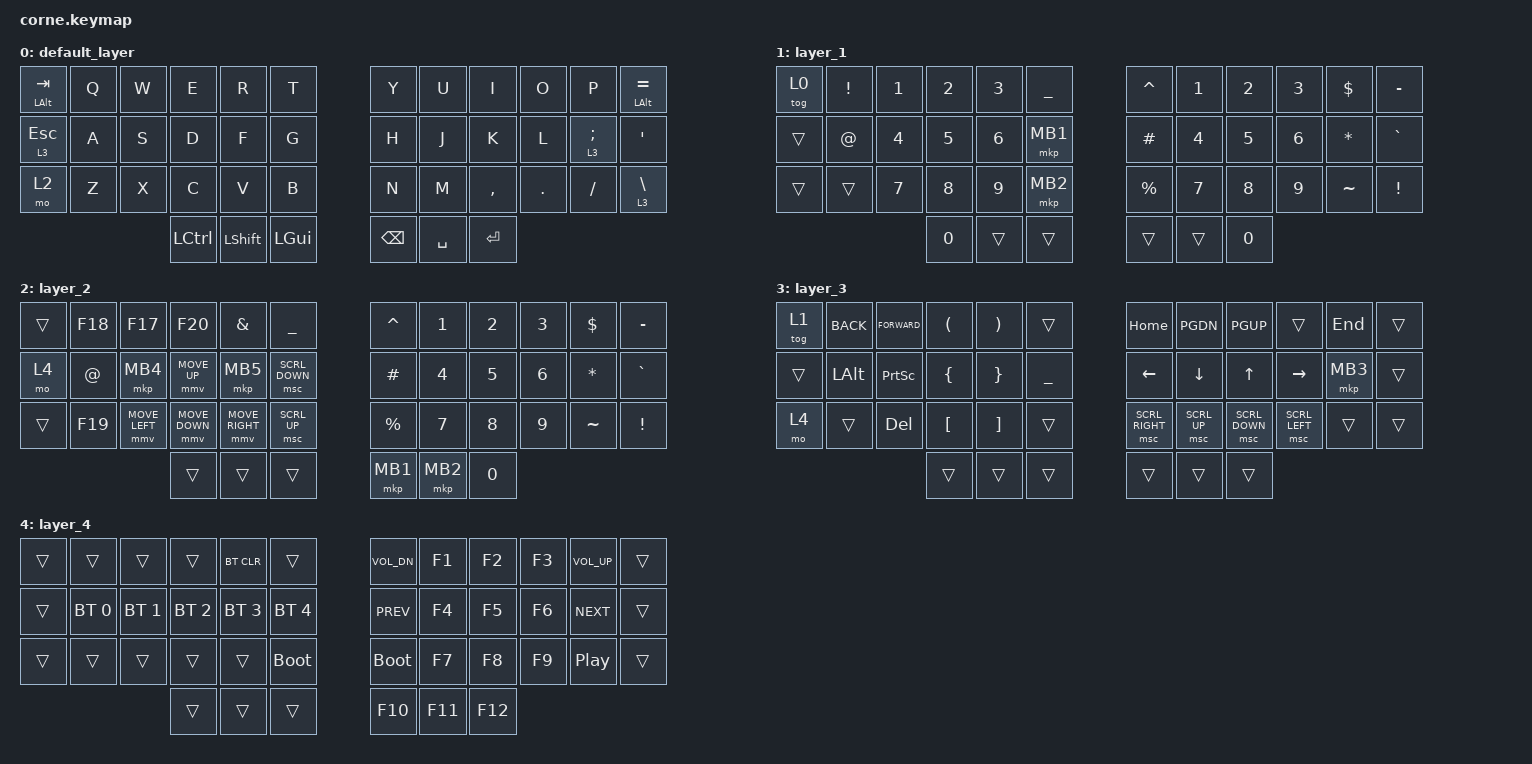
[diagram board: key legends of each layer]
/*
 * Copyright (c) 2020 The ZMK Contributors
 *
 * SPDX-License-Identifier: MIT
 */

#include <behaviors.dtsi>
#include <dt-bindings/zmk/keys.h>
#include <dt-bindings/zmk/mouse.h>
#include <dt-bindings/zmk/bt.h>

#define ZMK_POINTING_DEFAULT_MOVE_VAL 1800  // default: 600
#define ZMK_POINTING_DEFAULT_SCRL_VAL 40    // default: 10

#include <dt-bindings/zmk/pointing.h>


/ {

   behaviors {
        lt: layer_tap {
            compatible = "zmk,behavior-hold-tap";
            #binding-cells = <2>;
            flavor = "tap-preferred";
            tapping-term-ms = <150>;
            bindings = <&mo>, <&kp>;
            display-name = "Layer-Tap";
        };
    };
 


        keymap {
                compatible = "zmk,keymap";

                default_layer {
                        bindings = <
    &mt LALT TAB  &kp Q        &kp W        &kp E        &kp R        &kp T        &kp Y        &kp U        &kp I        &kp O        &kp P        &mt LALT EQL
    &lt 3 ESC     &kp A        &kp S        &kp D        &kp F        &kp G        &kp H        &kp J        &kp K        &kp L        &lt 3 SCLN   &kp SQT
    &mo 2         &kp Z        &kp X        &kp C        &kp V        &kp B        &kp N        &kp M        &kp COMMA    &kp DOT      &kp FSLH     &lt 3 BSLH
                                            &kp LCTRL    &kp LSHIFT   &kp LGUI     &kp BSPC     &kp SPACE    &kp RET

                        >;
                };

                // Lock
                layer_1 {
                        bindings = <
    &tog 0      &kp EXCL     &kp N1       &kp N2       &kp N3       &kp UNDER    &kp CARET    &kp N1       &kp N2       &kp N3       &kp DLLR     &kp MINUS
    &trans      &kp AT       &kp N4       &kp N5       &kp N6       &mkp MB1     &kp HASH     &kp N4       &kp N5       &kp N6       &kp ASTRK    &kp GRAVE
    &trans      &trans       &kp N7       &kp N8       &kp N9       &mkp MB2     &kp PRCNT    &kp N7       &kp N8       &kp N9       &kp TILDE    &kp EXCL
                                          &kp N0       &trans       &trans       &trans       &trans       &kp N0
                        >;
                };

                // Symbols
                layer_2 {
                        bindings = <
   &trans       &kp F18      &kp F17        &kp F20        &kp AMPS        &kp UNDER      &kp CARET    &kp N1       &kp N2       &kp N3       &kp DLLR     &kp MINUS
   &mo 4        &kp AT       &mkp MB4       &mmv MOVE_UP   &mkp MB5        &msc SCRL_DOWN &kp HASH     &kp N4       &kp N5       &kp N6       &kp ASTRK    &kp GRAVE
   &trans       &kp F19      &mmv MOVE_LEFT &mmv MOVE_DOWN &mmv MOVE_RIGHT &msc SCRL_UP   &kp PRCNT    &kp N7       &kp N8       &kp N9       &kp TILDE    &kp EXCL
                                            &trans         &trans          &trans         &mkp MB1     &mkp MB2     &kp N0
                        >;
                };

                // Navigation 
                layer_3 {
                        bindings = <
    &tog 1  &kp K_BACK   &kp K_FORWARD &kp LPAR      &kp RPAR      &trans       &kp HOME         &kp PGDN       &kp PGUP       &trans          &kp END      &trans
    &trans  &kp LALT     &kp PSCRN     &kp LBRC      &kp RBRC      &kp UNDER    &kp LEFT         &kp DOWN       &kp UP         &kp  RIGHT      &mkp MB3     &trans
    &mo 4   &trans       &kp DEL       &kp LBKT      &kp RBKT      &trans       &msc SCRL_RIGHT  &msc SCRL_UP   &msc SCRL_DOWN &msc SCRL_LEFT  &trans       &trans
                                       &trans        &trans        &trans       &trans           &trans         &trans
                        >;
                };

                // Adjust
                layer_4 {
                        bindings = <
    &trans       &trans       &trans          &trans          &bt BT_CLR      &trans          &kp C_VOL_DN      &kp F1    &kp F2       &kp F3       &kp C_VOL_UP     &trans
    &trans       &bt BT_SEL 0 &bt BT_SEL 1    &bt BT_SEL 2    &bt BT_SEL 3    &bt BT_SEL 4    &kp C_PREV        &kp F4    &kp F5       &kp F6       &kp C_NEXT       &trans
    &trans       &trans       &trans          &trans          &trans          &bootloader     &bootloader       &kp F7    &kp F8       &kp F9       &kp C_PLAY_PAUSE &trans
                                              &trans          &trans          &trans          &kp F10           &kp F11   &kp F12
                        >;
                };
        };
};

